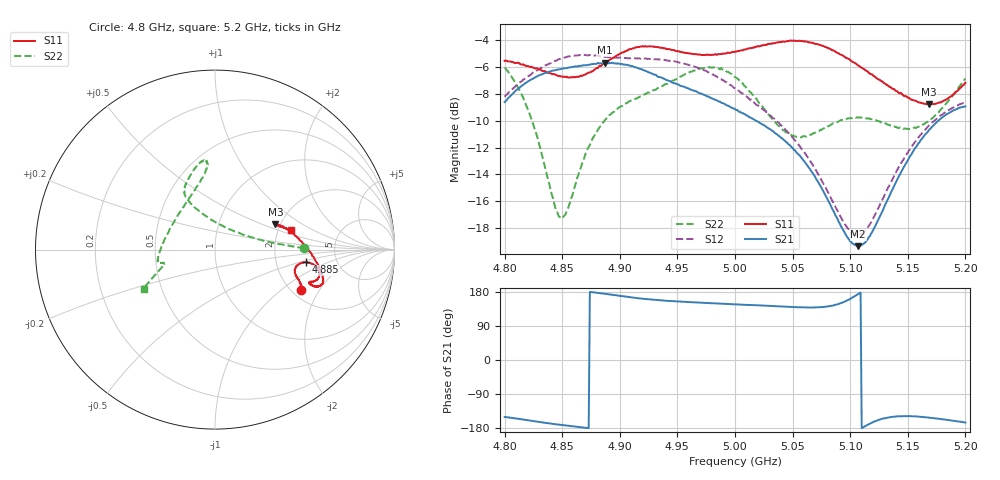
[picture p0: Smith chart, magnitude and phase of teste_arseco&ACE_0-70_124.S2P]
! Network Analyzer HP8722D
! Hewlett-Packard
! Data name: Linha & Wilkinson
! Saver's name: Rodrigo Anjos
! Comments: Teste da utilização de aquisição
! continua pelo VNA HP8722D
! Time and date: 8/5/2025 13:47
!  Frequency  S11  S21  S12  S22
# HZ  S  MA R 50
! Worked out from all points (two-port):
!   401 points, 4.8 GHz to 5.2 GHz, reference 50 ohm
!   highest |S21| = -5.66 dB at 4.887 GHz (marker M1); lowest = -19.4 dB at 5.107 GHz (marker M2)
!   |S21| within 3 dB of the highest: start of sweep to 4.988 GHz
!   lowest |S11| = -8.8 dB at 5.168 GHz (marker M3), VSWR 2.15, Z = 94.2 + j30.5 ohm
!   |S11| at or under -10 dB: nowhere
!   |S22| runs from -17.3 to -6.0 dB; largest |S21 - S12| = 1.1
!   S11 on the Smith chart (normalised r, x): 4.8 GHz: 2.23, -1.40; 4.885 GHz: 2.99, -0.57; 5.2 GHz: 2.35, +0.64
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4.8e9  0.529 -25.3  0.3712 -150.2  0.3886 9.0  0.4987 1.0
4.821e9  0.5042 -20.7  0.4454 -159.3  0.4643 5.8  0.3407 6.0
4.843e9  0.4716 -17.5  0.4873 -169.1  0.5267 2.7  0.156 38.4
4.848e9  0.4634 -16.1  0.4915 -171.0  0.5368 1.7  0.1382 58.1
4.854e9  0.4616 -14.7  0.4976 -173.4  0.5469 0.9  0.1459 82.0
4.867e9  0.4644 -11.1  0.5078 -177.9  0.5544 -1.1  0.2174 110.3
4.885e9  0.5132 -7.9  0.5172 175.6  0.5489 -2.2  0.3092 118.4
4.887e9  0.5181 -7.9  0.5211 174.7  0.547 -2.3  0.3178 118.8
4.913e9  0.5916 -11.6  0.5006 164.1  0.541 -1.7  0.3805 116.6
4.934e9  0.5938 -16.3  0.4607 157.6  0.5368 -2.6  0.4201 110.9
4.975e9  0.5574 -19.3  0.3914 150.6  0.4845 -6.3  0.4997 97.8
5e9  0.5711 -20.0  0.3492 146.9  0.4179 -6.2  0.4604 95.8
5.042e9  0.624 -18.3  0.2692 141.1  0.2984 1.5  0.2913 128.7
5.067e9  0.6172 -13.9  0.203 138.5  0.2181 9.0  0.2825 164.6
5.096e9  0.5434 -3.7  0.1192 155.3  0.1291 35.7  0.3202 -171.6
5.107e9  0.5084 1.6  0.1077 174.1  0.1185 57.0  0.325 -168.2
5.117e9  0.4742 6.6  0.1174 -168.0  0.1299 76.2  0.3215 -166.6
5.134e9  0.4235 14.9  0.1655 -151.1  0.1815 94.5  0.3056 -165.9
5.152e9  0.3815 20.9  0.2332 -148.3  0.2477 100.3  0.2947 -164.4
5.168e9  0.3642 22.6  0.2904 -151.9  0.3024 101.2  0.3147 -161.2
5.183e9  0.3788 20.2  0.3324 -157.6  0.3414 101.1  0.3649 -157.1
5.2e9  0.4381 14.6  0.3578 -165.0  0.3715 101.6  0.4538 -151.0
